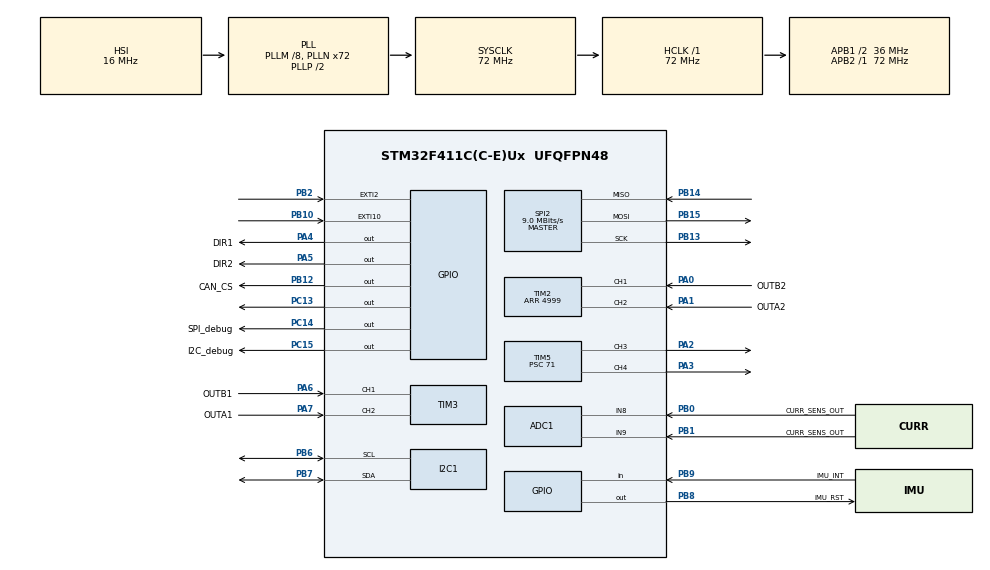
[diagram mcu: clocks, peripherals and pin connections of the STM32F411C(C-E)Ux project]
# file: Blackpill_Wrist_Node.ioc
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ADC1.Channel-0\#ChannelRegularConversion=ADC_CHANNEL_8
ADC1.Channel-1\#ChannelRegularConversion=ADC_CHANNEL_9
ADC1.ContinuousConvMode=ENABLE
ADC1.DMAContinuousRequests=ENABLE
ADC1.DiscontinuousConvMode=DISABLE
ADC1.NbrOfConversion=2
ADC1.NbrOfConversionFlag=1
ADC1.Rank-0\#ChannelRegularConversion=1
ADC1.Rank-1\#ChannelRegularConversion=2
ADC1.SamplingTime-0\#ChannelRegularConversion=ADC_SAMPLETIME_3CYCLES
ADC1.SamplingTime-1\#ChannelRegularConversion=ADC_SAMPLETIME_3CYCLES
ADC1.ScanConvMode=ENABLE
ADC1.master=1
Dma.ADC1.2.Direction=DMA_PERIPH_TO_MEMORY
Dma.ADC1.2.FIFOMode=DMA_FIFOMODE_DISABLE
Dma.ADC1.2.Instance=DMA2_Stream0
Dma.ADC1.2.MemDataAlignment=DMA_MDATAALIGN_HALFWORD
Dma.ADC1.2.MemInc=DMA_MINC_ENABLE
Dma.ADC1.2.Mode=DMA_CIRCULAR
Dma.ADC1.2.PeriphDataAlignment=DMA_PDATAALIGN_HALFWORD
Dma.ADC1.2.PeriphInc=DMA_PINC_DISABLE
Dma.ADC1.2.Priority=DMA_PRIORITY_LOW
Dma.I2C1_RX.0.Direction=DMA_PERIPH_TO_MEMORY
Dma.I2C1_RX.0.FIFOMode=DMA_FIFOMODE_DISABLE
Dma.I2C1_RX.0.Instance=DMA1_Stream0
Dma.I2C1_RX.0.MemDataAlignment=DMA_MDATAALIGN_BYTE
Dma.I2C1_RX.0.MemInc=DMA_MINC_ENABLE
Dma.I2C1_RX.0.Mode=DMA_NORMAL
Dma.I2C1_RX.0.PeriphDataAlignment=DMA_PDATAALIGN_BYTE
Dma.I2C1_RX.0.PeriphInc=DMA_PINC_DISABLE
Dma.I2C1_RX.0.Priority=DMA_PRIORITY_LOW
Dma.I2C1_TX.1.Direction=DMA_MEMORY_TO_PERIPH
Dma.I2C1_TX.1.FIFOMode=DMA_FIFOMODE_DISABLE
Dma.I2C1_TX.1.Instance=DMA1_Stream1
Dma.I2C1_TX.1.MemDataAlignment=DMA_MDATAALIGN_BYTE
Dma.I2C1_TX.1.MemInc=DMA_MINC_ENABLE
Dma.I2C1_TX.1.Mode=DMA_NORMAL
Dma.I2C1_TX.1.PeriphDataAlignment=DMA_PDATAALIGN_BYTE
Dma.I2C1_TX.1.PeriphInc=DMA_PINC_DISABLE
Dma.I2C1_TX.1.Priority=DMA_PRIORITY_LOW
Dma.Request0=I2C1_RX
Dma.Request1=I2C1_TX
Dma.Request2=ADC1
Mcu.Family=STM32F4
Mcu.Name=STM32F411C(C-E)Ux
Mcu.Package=UFQFPN48
NVIC.DMA1_Stream0_IRQn=true\:0\:0\:false\:false\:true\:false\:true\:true
NVIC.DMA1_Stream1_IRQn=true\:0\:0\:false\:false\:true\:false\:true\:true
NVIC.DMA2_Stream0_IRQn=true\:0\:0\:false\:false\:true\:false\:true\:true
NVIC.EXTI15_10_IRQn=true\:0\:0\:false\:false\:true\:true\:true\:true
NVIC.EXTI2_IRQn=true\:0\:0\:false\:false\:true\:true\:true\:true
NVIC.PriorityGroup=NVIC_PRIORITYGROUP_4
PA0-WKUP.GPIO_Label=OUTB2
PA0-WKUP.Signal=S_TIM2_CH1_ETR
PA1.GPIO_Label=OUTA2
PA1.Signal=S_TIM2_CH2
PA2.Signal=S_TIM5_CH3
PA3.Signal=S_TIM5_CH4
PA4.GPIO_Label=DIR1
PA4.Signal=GPIO_Output
PA5.GPIO_Label=DIR2
PA5.Signal=GPIO_Output
PA6.GPIO_Label=OUTB1
PA6.Signal=S_TIM3_CH1
PA7.GPIO_Label=OUTA1
PA7.Signal=S_TIM3_CH2
PB0.GPIO_Label=CURR_SENS_OUT
PB0.Signal=ADCx_IN8
PB1.GPIO_Label=CURR_SENS_OUT
PB1.Signal=ADCx_IN9
PB10.GPIO_ModeDefaultEXTI=GPIO_MODE_IT_RISING_FALLING
PB10.Signal=GPXTI10
PB12.GPIO_Label=CAN_CS
PB12.Signal=GPIO_Output
PB13.Mode=Full_Duplex_Master
PB13.Signal=SPI2_SCK
PB14.Mode=Full_Duplex_Master
PB14.Signal=SPI2_MISO
PB15.Mode=Full_Duplex_Master
PB15.Signal=SPI2_MOSI
PB2.GPIO_ModeDefaultEXTI=GPIO_MODE_IT_RISING_FALLING
PB2.Signal=GPXTI2
PB6.Mode=I2C
PB6.Signal=I2C1_SCL
PB7.Mode=I2C
PB7.Signal=I2C1_SDA
PB8.GPIO_Label=IMU_RST
PB8.Signal=GPIO_Output
PB9.GPIO_Label=IMU_INT
PB9.Signal=GPIO_Input
PC13-ANTI_TAMP.Signal=GPIO_Output
PC14-OSC32_IN.GPIO_Label=SPI_debug
PC14-OSC32_IN.Signal=GPIO_Output
PC15-OSC32_OUT.GPIO_Label=I2C_debug
PC15-OSC32_OUT.Signal=GPIO_Output
PH0\ -\ OSC_IN.Mode=HSE-External-Oscillator
PH0\ -\ OSC_IN.Signal=RCC_OSC_IN
PH1\ -\ OSC_OUT.Mode=HSE-External-Oscillator
PH1\ -\ OSC_OUT.Signal=RCC_OSC_OUT
ProjectManager.HeapSize=0x200
ProjectManager.StackSize=0x400
ProjectManager.TargetToolchain=STM32CubeIDE
RCC.48MHZClocksFreq_Value=36000000
RCC.AHBFreq_Value=72000000
RCC.APB1CLKDivider=RCC_HCLK_DIV2
RCC.APB1Freq_Value=36000000
RCC.APB1TimFreq_Value=72000000
RCC.APB2Freq_Value=72000000
RCC.APB2TimFreq_Value=72000000
RCC.CortexFreq_Value=72000000
RCC.HCLKFreq_Value=72000000
RCC.HSE_VALUE=25000000
RCC.HSI_VALUE=16000000
RCC.LSE_VALUE=32768
RCC.PLLM=8
RCC.PLLN=72
RCC.SYSCLKFreq_VALUE=72000000
RCC.SYSCLKSource=RCC_SYSCLKSOURCE_PLLCLK
RCC.VCOOutputFreq_Value=144000000
SH.ADCx_IN8.0=ADC1_IN8,IN8
SH.ADCx_IN9.0=ADC1_IN9,IN9
SH.S_TIM2_CH1_ETR.0=TIM2_CH1,Encoder_Interface
SH.S_TIM2_CH2.0=TIM2_CH2,Encoder_Interface
SH.S_TIM3_CH1.0=TIM3_CH1,Encoder_Interface
SH.S_TIM3_CH2.0=TIM3_CH2,Encoder_Interface
SH.S_TIM5_CH3.0=TIM5_CH3,PWM Generation3 CH3
SH.S_TIM5_CH4.0=TIM5_CH4,PWM Generation4 CH4
SPI2.BaudRatePrescaler=SPI_BAUDRATEPRESCALER_4
SPI2.CalculateBaudRate=9.0 MBits/s
SPI2.Direction=SPI_DIRECTION_2LINES
SPI2.Mode=SPI_MODE_MASTER
SPI2.VirtualType=VM_MASTER
TIM1.Prescaler=71
TIM2.Period=4999
TIM5.Channel-PWM\ Generation3\ CH3=TIM_CHANNEL_3
TIM5.Channel-PWM\ Generation4\ CH4=TIM_CHANNEL_4
TIM5.Period=999
TIM5.Prescaler=71
VP_TIM1_VS_ClockSourceINT.Mode=Internal
VP_TIM5_VS_ClockSourceINT.Mode=Internal
board=custom

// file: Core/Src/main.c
/* USER CODE BEGIN Header */
/**
  ******************************************************************************
  * @file           : main.c
  * @brief          : Main program body
  ******************************************************************************
  * @attention
  *
  * Copyright (c) 2026 STMicroelectronics.
  * All rights reserved.
  *
  * This software is licensed under terms that can be found in the LICENSE file
  * in the root directory of this software component.
  * If no LICENSE file comes with this software, it is provided AS-IS.
  *
  ******************************************************************************
  */
/* USER CODE END Header */
#include "main.h"

/* USER CODE BEGIN Includes */
#include "CANSPI.h"
#include "MCP2515.h"
/* USER CODE END Includes */

/* USER CODE BEGIN PTD */
#define wrist 9
#define CAN_FAIL 10000

#define QUAD_DATA 0b00010  //SEND QUAD DATAS
#define SENSORS_CHECK 0b11111 //SENSOR CHECK AT BEGINNING

#define HEARTBEAT 0b00000  //HEARTBEAT RECEIVED
#define HEARTBEATED 0b00001 //HEARTBEAT SENT

#define PWM 0b10010 //PWM TO BE RECEIVED
#define START_NODE 0b10100 //NODE START COMMAND

#define PWM_INTERRUPT 0b01010

#define MAKE_ARBITRATION_ID(node, msg) (((node) << 5) | (msg))

#define CAN_FAIL 10000

#define CPR (1000*4)
#define dt 0.0001

#define BUSOFF_CHECK_PERIOD_MS 200

/* USER CODE END PTD */

ADC_HandleTypeDef hadc1;
DMA_HandleTypeDef hdma_adc1;

I2C_HandleTypeDef hi2c1;
DMA_HandleTypeDef hdma_i2c1_rx;
DMA_HandleTypeDef hdma_i2c1_tx;

SPI_HandleTypeDef hspi2;

TIM_HandleTypeDef htim1;
TIM_HandleTypeDef htim2;
TIM_HandleTypeDef htim3;
TIM_HandleTypeDef htim5;

/* USER CODE BEGIN PV */
volatile uint16_t adc_buf[2];

uint16_t enc1_count;
uint16_t enc2_count;

uCAN_MSG tx_quad_curr;
uCAN_MSG tx_sensor_check;

uCAN_MSG tx_heartbeat;
uCAN_MSG tx_pwminterrupt;

uCAN_MSG rx;

uint8_t timer = 0;
static volatile uint32_t counter = 0;
static volatile uint8_t heartbeater = 0;
static volatile uint32_t CAN_failed_counter = 0;
static uint32_t last_bussoff_check_tick = 0;
static volatile uint32_t tx_drop_count = 0;
volatile bool beat_pls = false;
volatile bool start_node = false;
volatile bool start_node_init = false;
volatile bool CAN_checker = false;

//void decode_id(uint16_t arb_id){
//	uint16_t node = (arb_id >> 5) & 0b00111111;
//	uint16_t msg = arb_id & 0b00011111;
//	nm[0] = node;
//	nm[1] = msg;
//}
//
//uint16_t cast_to_arbid(uint16_t id){
// return (id & 0b11111111111);
//}

uint16_t pwm_msg_left = MAKE_ARBITRATION_ID(wrist, PWM);
uint16_t start_node_msg = MAKE_ARBITRATION_ID(wrist, START_NODE);
//
//uint16_t exp_dirn_msg = MAKE_ARBITRATION_ID(wrist, EXPLICIT_DIRN);
//uint16_t dr_dirn_msg = MAKE_ARBITRATION_ID(wrist, DRIVE_DIRN);
//
//uint16_t exp_acs_msg = MAKE_ARBITRATION_ID(wrist, EXPLICIT_ACS);
//uint16_t dr_acs_msg = MAKE_ARBITRATION_ID(wrist, DRIVE_ACS);
//
//uint16_t exp_quad_msg = MAKE_ARBITRATION_ID(wrist, EXPLICIT_QUAD);
//uint16_t dr_quad_msg = MAKE_ARBITRATION_ID(wrist, DRIVE_QUAD);
//
//uint16_t imu_msg = MAKE_ARBITRATION_ID(wrist, EXPLICIT_IMU);
//uint16_t mag_msg = MAKE_ARBITRATION_ID(wrist, EXPLICIT_MAGN);
//
//uint16_t status_msg = MAKE_ARBITRATION_ID(wrist, STATUS);

uint16_t quad_msg = MAKE_ARBITRATION_ID(wrist, QUAD_DATA);
uint16_t sensor_check_msg = MAKE_ARBITRATION_ID(wrist, SENSORS_CHECK);

uint16_t heartbeat_msg = MAKE_ARBITRATION_ID(wrist, HEARTBEAT);
uint16_t heartbeated_msg = MAKE_ARBITRATION_ID(wrist, HEARTBEATED);

uint16_t pwminterrupted_msg = MAKE_ARBITRATION_ID(wrist, PWM_INTERRUPT);

volatile uint8_t interrupted_left = 0; //assume left has dir 0 so it goes past when pwm 0 (dir(c). Thus, dir 0 and interrupted_left must be logically 0. If if the dir is 1 then make it 1
volatile uint8_t interrupted_right = 0;// assume right has dir 1 so for dir 1 and interrupted 1 pwm 0. If dir becomes 0 then let pwm to work.
// when either of these happen cause interrupt, basically and both stuff for output (dir + intlc)*(dirc + intrc)

static volatile uint32_t last_left_edge_tick = 0;
static volatile uint32_t last_right_edge_tick = 0;
static volatile bool left_edge_pending = false;
static volatile bool right_edge_pending = false;

uint16_t angle[2] = {0,0};
uint16_t angle_last[2] = {0,0};
int16_t rpm_act[2] = {0,0};            // signed RPM, updated every RPM_PERIOD_MS
static uint16_t enc_last[2] = {0,0};
static uint32_t last_rpm_tick = 0;
#define RPM_PERIOD_MS 50

/* USER CODE END PV */

void SystemClock_Config(void);
static void MX_GPIO_Init(void);
static void MX_DMA_Init(void);
static void MX_ADC1_Init(void);
static void MX_I2C1_Init(void);
static void MX_SPI2_Init(void);
static void MX_TIM2_Init(void);
static void MX_TIM3_Init(void);
static void MX_TIM5_Init(void);
static void MX_TIM1_Init(void);
/* USER CODE BEGIN PFP */

void CAN_Send_QuadFrame(){
	enc1_count = (uint16_t)__HAL_TIM_GET_COUNTER(&htim3);
	enc2_count = (uint16_t)__HAL_TIM_GET_COUNTER(&htim2);

	tx_quad_curr.frame.idType = dSTANDARD_CAN_MSG_ID_2_0B;
	tx_quad_curr.frame.id = quad_msg;
	tx_quad_curr.frame.dlc = 6;

	tx_quad_curr.frame.data0 = angle[0] & 0xFF;
	tx_quad_curr.frame.data1 = (angle[0] >> 8) & 0xFF; //explicit encoder

	tx_quad_curr.frame.data2 = angle[1] & 0xFF;
	tx_quad_curr.frame.data3 = (angle[1] >> 8) & 0xFF; //drive encoder

	tx_quad_curr.frame.data4 = adc_buf[0] & 0xFF;
	tx_quad_curr.frame.data5 = (adc_buf[0] >> 8) & 0xFF;

	if (!CANSPI_Transmit(&tx_quad_curr)) tx_drop_count++;
}

void CAN_Heartbeat(void){
    if (beat_pls){
		tx_heartbeat.frame.idType = dSTANDARD_CAN_MSG_ID_2_0B;
		tx_heartbeat.frame.id = heartbeated_msg;
		tx_heartbeat.frame.dlc = 1;
		tx_heartbeat.frame.data0 = heartbeater;
		beat_pls = false;
		if (!CANSPI_Transmit(&tx_heartbeat)) tx_drop_count++;
    }
}

void delay_us (uint16_t us){
	__HAL_TIM_SET_COUNTER(&htim1,0);  // set the counter value a 0
	while (__HAL_TIM_GET_COUNTER(&htim1) < us);  // wait for the counter to reach the us input in the parameter
}

//void CAN_Send_SensorCheck(void){
//	tx_sensor_check.frame.idType = dSTANDARD_CAN_MSG_ID_2_0B;
//	tx_sensor_check.frame.id = sensor_check_msg;
//	tx_sensor_check.frame.dlc = 2;
//	tx_sensor_check.frame.data0 = status_as;
//	tx_sensor_check.frame.data1 = status_bn;
//	if (!CANSPI_Transmit(&tx_sensor_check)) tx_drop_count++;
//}
/* USER CODE END PFP */

int main(void)
{

  /* MCU Configuration--------------------------------------------------------*/

  /* Reset of all peripherals, Initializes the Flash interface and the Systick. */
  HAL_Init();

  /* Configure the system clock */
  SystemClock_Config();

  /* Initialize all configured peripherals */
  MX_GPIO_Init();
  MX_DMA_Init();
  MX_ADC1_Init();
  MX_I2C1_Init();
  MX_SPI2_Init();
  MX_TIM2_Init();
  MX_TIM3_Init();
  MX_TIM5_Init();
  MX_TIM1_Init();
  /* USER CODE BEGIN 2 */
//  HAL_GPIO_WritePin(GPIOC,GPIO_PIN_13,0);
//  HAL_Delay(100);
//  HAL_GPIO_WritePin(GPIOC,GPIO_PIN_13,1);
//  HAL_Delay(100);

  HAL_Delay(1000);
  CAN_checker = CANSPI_Initialize();
  HAL_Delay(1000);

//  HAL_GPIO_WritePin(GPIOC,GPIO_PIN_13,0);
//  HAL_Delay(100);
//  HAL_GPIO_WritePin(GPIOC,GPIO_PIN_13,1);
//  HAL_Delay(100);

  HAL_ADC_Start_DMA(&hadc1, (uint32_t*)adc_buf, 2);
  __HAL_DMA_DISABLE_IT(hadc1.DMA_Handle, DMA_IT_TC | DMA_IT_HT | DMA_IT_TE);

  HAL_Delay(20);

//  HAL_GPIO_WritePin(GPIOC,GPIO_PIN_13,0);
//  HAL_Delay(100);
//  HAL_GPIO_WritePin(GPIOC,GPIO_PIN_13,1);
//  HAL_Delay(100);

  HAL_TIM_Base_Start(&htim1); // 1 MHz free-running counter used by delay_us()

  HAL_TIM_PWM_Start(&htim5, TIM_CHANNEL_3);
  HAL_TIM_PWM_Start(&htim5, TIM_CHANNEL_4);

  HAL_TIM_Encoder_Start(&htim2, TIM_CHANNEL_ALL);
  HAL_TIM_Encoder_Start(&htim3, TIM_CHANNEL_ALL);

//  HAL_GPIO_WritePin(GPIOA,GPIO_PIN_4,1);
//  HAL_GPIO_WritePin(GPIOA,GPIO_PIN_5,1);
//
//  __HAL_TIM_SET_COMPARE(&htim5, TIM_CHANNEL_3, 150);
//  __HAL_TIM_SET_COMPARE(&htim5, TIM_CHANNEL_4, 150);
//
//  HAL_Delay(2000);
//
//  HAL_GPIO_WritePin(GPIOA,GPIO_PIN_4,0);
//  HAL_GPIO_WritePin(GPIOA,GPIO_PIN_5,0);
//  __HAL_TIM_SET_COMPARE(&htim5, TIM_CHANNEL_3, 0);
//  __HAL_TIM_SET_COMPARE(&htim5, TIM_CHANNEL_4, 0);
//
//  HAL_Delay(1000);

  last_bussoff_check_tick = HAL_GetTick();
  last_rpm_tick = last_bussoff_check_tick;
  /* USER CODE END 2 */

  /* Infinite loop */
  while (1)
  {

  /* USER CODE BEGIN 3 */

    if (CAN_failed_counter>=CAN_FAIL){
  	  __HAL_TIM_SET_COMPARE(&htim5, TIM_CHANNEL_3, 0);
  	  __HAL_TIM_SET_COMPARE(&htim5, TIM_CHANNEL_4, 0);
  	  HAL_GPIO_WritePin(GPIOA,GPIO_PIN_4,0);
  	  HAL_GPIO_WritePin(GPIOA,GPIO_PIN_5,0);
  	  start_node = false;
    }

    if (HAL_GetTick() - last_bussoff_check_tick >= BUSOFF_CHECK_PERIOD_MS){
  	  last_bussoff_check_tick = HAL_GetTick();
  	  if (CANSPI_isBussOff()){
  		  CAN_checker = CANSPI_Initialize();
  	  }
    }

    if (!start_node){
	//  	  HAL_Delay(500);
	//  	  HAL_GPIO_WritePin(GPIOC,GPIO_PIN_13,0);
	//  	  HAL_Delay(100);
	//  	  HAL_GPIO_WritePin(GPIOC,GPIO_PIN_13,1);
	//  	  HAL_Delay(100);
		  while(!CANSPI_Receive(&rx)){}
		  if (rx.frame.id == start_node_msg){
	//  		  HAL_GPIO_WritePin(GPIOC,GPIO_PIN_13,0);
	//  		  HAL_Delay(100);
	//  		  HAL_GPIO_WritePin(GPIOC,GPIO_PIN_13,1);
	//  		  HAL_Delay(100);
			  start_node = true;
			  start_node_init = true;
			  delay_us(50);
		  }
		  else if (rx.frame.id == sensor_check_msg){
//			  CAN_Send_SensorCheck();
		  }
		  else if (start_node_init){
			  start_node = true;
		  }
    }

	  if(timer==10){
		  timer = 0;
		  CAN_Send_QuadFrame(); //doing
	  }
	  if (counter==1000){
		  HAL_GPIO_TogglePin(GPIOC,GPIO_PIN_13);
		  counter = 0;
	  }

	  HAL_GPIO_WritePin(SPI_debug_GPIO_Port, SPI_debug_Pin, CAN_checker ? GPIO_PIN_SET : GPIO_PIN_RESET);

	  if (CANSPI_Receive(&rx)){
	      if (rx.frame.id == pwm_msg_left){
	          CAN_failed_counter=0;
	          uint16_t pwm_left = rx.frame.data1;
	          uint8_t dir_left = rx.frame.data0;
//	          uint8_t blocked_left = (dir_left == 0) ? interrupted_left : interrupted_right;
	          uint16_t pwm_right = rx.frame.data3;
	          uint8_t dir_right = rx.frame.data2;
//	          uint8_t blocked_right = (dir_right == 0) ? interrupted_left : interrupted_right;
	          HAL_GPIO_WritePin(GPIOA,GPIO_PIN_4,dir_left);
	          __HAL_TIM_SET_COMPARE(&htim5, TIM_CHANNEL_3, pwm_left);
	          HAL_GPIO_WritePin(GPIOA,GPIO_PIN_5,dir_right);
	          __HAL_TIM_SET_COMPARE(&htim5, TIM_CHANNEL_4, pwm_right);
	      }
	  	  else if (rx.frame.id == heartbeat_msg){
	  		  CAN_failed_counter=0;
	  		  heartbeater = rx.frame.data0 + rx.frame.data1;
	  		  beat_pls = true;
	  		  CAN_Heartbeat();
	  	  }
	  }

	  angle[0] = enc1_count*360/CPR;
	  angle[1] = enc2_count*360/CPR;
	  /* Live RPM: signed count delta over real elapsed ms (not loop iterations) */
	  uint32_t rpm_now = HAL_GetTick();
	  if (rpm_now - last_rpm_tick >= RPM_PERIOD_MS){
		  uint16_t c1 = (uint16_t)__HAL_TIM_GET_COUNTER(&htim3);
		  uint16_t c2 = (uint16_t)__HAL_TIM_GET_COUNTER(&htim2);
		  int32_t d1 = (int16_t)(c1 - enc_last[0]);             // TIM3: 16-bit wrap
		  int32_t d2 = (int32_t)c2 - (int32_t)enc_last[1];      // TIM2: wraps at ARR+1 = 5000
		  if (d2 > 2500) d2 -= 5000; else if (d2 < -2500) d2 += 5000;
		  int32_t dms = (int32_t)(rpm_now - last_rpm_tick);
		  rpm_act[0] = (int16_t)(d1 * 60000 / (CPR * dms));
		  rpm_act[1] = (int16_t)(d2 * 60000 / (CPR * dms));
		  enc_last[0] = c1;
		  enc_last[1] = c2;
		  last_rpm_tick = rpm_now;
	  }

	  timer++;
	  counter++;
	  CAN_failed_counter++;
	  delay_us(100);
  }
  /* USER CODE END 3 */
}

void SystemClock_Config(void)
{
  RCC_OscInitTypeDef RCC_OscInitStruct = {0};
  RCC_ClkInitTypeDef RCC_ClkInitStruct = {0};

  /** Configure the main internal regulator output voltage
  */
  __HAL_RCC_PWR_CLK_ENABLE();
  __HAL_PWR_VOLTAGESCALING_CONFIG(PWR_REGULATOR_VOLTAGE_SCALE1);

  /** Initializes the RCC Oscillators according to the specified parameters
  * in the RCC_OscInitTypeDef structure.
  */
  RCC_OscInitStruct.OscillatorType = RCC_OSCILLATORTYPE_HSI;
  RCC_OscInitStruct.HSIState = RCC_HSI_ON;
  RCC_OscInitStruct.HSICalibrationValue = RCC_HSICALIBRATION_DEFAULT;
  RCC_OscInitStruct.PLL.PLLState = RCC_PLL_ON;
  RCC_OscInitStruct.PLL.PLLSource = RCC_PLLSOURCE_HSI;
  RCC_OscInitStruct.PLL.PLLM = 8;
  RCC_OscInitStruct.PLL.PLLN = 72;
  RCC_OscInitStruct.PLL.PLLP = RCC_PLLP_DIV2;
  RCC_OscInitStruct.PLL.PLLQ = 4;
  if (HAL_RCC_OscConfig(&RCC_OscInitStruct) != HAL_OK)
  {
    Error_Handler();
  }

  /** Initializes the CPU, AHB and APB buses clocks
  */
  RCC_ClkInitStruct.ClockType = RCC_CLOCKTYPE_HCLK|RCC_CLOCKTYPE_SYSCLK
                              |RCC_CLOCKTYPE_PCLK1|RCC_CLOCKTYPE_PCLK2;
  RCC_ClkInitStruct.SYSCLKSource = RCC_SYSCLKSOURCE_PLLCLK;
  RCC_ClkInitStruct.AHBCLKDivider = RCC_SYSCLK_DIV1;
  RCC_ClkInitStruct.APB1CLKDivider = RCC_HCLK_DIV2;
  RCC_ClkInitStruct.APB2CLKDivider = RCC_HCLK_DIV1;

  if (HAL_RCC_ClockConfig(&RCC_ClkInitStruct, FLASH_LATENCY_2) != HAL_OK)
  {
    Error_Handler();
  }
}

static void MX_ADC1_Init(void)
{

  ADC_ChannelConfTypeDef sConfig = {0};

  /** Configure the global features of the ADC (Clock, Resolution, Data Alignment and number of conversion)
  */
  hadc1.Instance = ADC1;
  hadc1.Init.ClockPrescaler = ADC_CLOCK_SYNC_PCLK_DIV2;
  hadc1.Init.Resolution = ADC_RESOLUTION_12B;
  hadc1.Init.ScanConvMode = ENABLE;
  hadc1.Init.ContinuousConvMode = ENABLE;
  hadc1.Init.DiscontinuousConvMode = DISABLE;
  hadc1.Init.ExternalTrigConvEdge = ADC_EXTERNALTRIGCONVEDGE_NONE;
  hadc1.Init.ExternalTrigConv = ADC_SOFTWARE_START;
  hadc1.Init.DataAlign = ADC_DATAALIGN_RIGHT;
  hadc1.Init.NbrOfConversion = 2;
  hadc1.Init.DMAContinuousRequests = ENABLE;
  hadc1.Init.EOCSelection = ADC_EOC_SINGLE_CONV;
  if (HAL_ADC_Init(&hadc1) != HAL_OK)
  {
    Error_Handler();
  }

  /** Configure for the selected ADC regular channel its corresponding rank in the sequencer and its sample time.
  */
  sConfig.Channel = ADC_CHANNEL_8;
  sConfig.Rank = 1;
  sConfig.SamplingTime = ADC_SAMPLETIME_3CYCLES;
  if (HAL_ADC_ConfigChannel(&hadc1, &sConfig) != HAL_OK)
  {
    Error_Handler();
  }

  /** Configure for the selected ADC regular channel its corresponding rank in the sequencer and its sample time.
  */
  sConfig.Channel = ADC_CHANNEL_9;
  sConfig.Rank = 2;
  if (HAL_ADC_ConfigChannel(&hadc1, &sConfig) != HAL_OK)
  {
    Error_Handler();
  }

}

static void MX_I2C1_Init(void)
{

  hi2c1.Instance = I2C1;
  hi2c1.Init.ClockSpeed = 100000;
  hi2c1.Init.DutyCycle = I2C_DUTYCYCLE_2;
  hi2c1.Init.OwnAddress1 = 0;
  hi2c1.Init.AddressingMode = I2C_ADDRESSINGMODE_7BIT;
  hi2c1.Init.DualAddressMode = I2C_DUALADDRESS_DISABLE;
  hi2c1.Init.OwnAddress2 = 0;
  hi2c1.Init.GeneralCallMode = I2C_GENERALCALL_DISABLE;
  hi2c1.Init.NoStretchMode = I2C_NOSTRETCH_DISABLE;
  if (HAL_I2C_Init(&hi2c1) != HAL_OK)
  {
    Error_Handler();
  }

}

static void MX_SPI2_Init(void)
{

  /* SPI2 parameter configuration*/
  hspi2.Instance = SPI2;
  hspi2.Init.Mode = SPI_MODE_MASTER;
  hspi2.Init.Direction = SPI_DIRECTION_2LINES;
  hspi2.Init.DataSize = SPI_DATASIZE_8BIT;
  hspi2.Init.CLKPolarity = SPI_POLARITY_LOW;
  hspi2.Init.CLKPhase = SPI_PHASE_1EDGE;
  hspi2.Init.NSS = SPI_NSS_SOFT;
  hspi2.Init.BaudRatePrescaler = SPI_BAUDRATEPRESCALER_4;
  hspi2.Init.FirstBit = SPI_FIRSTBIT_MSB;
  hspi2.Init.TIMode = SPI_TIMODE_DISABLE;
  hspi2.Init.CRCCalculation = SPI_CRCCALCULATION_DISABLE;
  hspi2.Init.CRCPolynomial = 10;
  if (HAL_SPI_Init(&hspi2) != HAL_OK)
  {
    Error_Handler();
  }

}

static void MX_TIM1_Init(void)
{

  TIM_ClockConfigTypeDef sClockSourceConfig = {0};
  TIM_MasterConfigTypeDef sMasterConfig = {0};

  htim1.Instance = TIM1;
  htim1.Init.Prescaler = 71;
  htim1.Init.CounterMode = TIM_COUNTERMODE_UP;
  htim1.Init.Period = 65535;
  htim1.Init.ClockDivision = TIM_CLOCKDIVISION_DIV1;
  htim1.Init.RepetitionCounter = 0;
  htim1.Init.AutoReloadPreload = TIM_AUTORELOAD_PRELOAD_DISABLE;
  if (HAL_TIM_Base_Init(&htim1) != HAL_OK)
  {
    Error_Handler();
  }
  sClockSourceConfig.ClockSource = TIM_CLOCKSOURCE_INTERNAL;
  if (HAL_TIM_ConfigClockSource(&htim1, &sClockSourceConfig) != HAL_OK)
  {
    Error_Handler();
  }
  sMasterConfig.MasterOutputTrigger = TIM_TRGO_RESET;
  sMasterConfig.MasterSlaveMode = TIM_MASTERSLAVEMODE_DISABLE;
  if (HAL_TIMEx_MasterConfigSynchronization(&htim1, &sMasterConfig) != HAL_OK)
  {
    Error_Handler();
  }

}

static void MX_TIM2_Init(void)
{

  TIM_Encoder_InitTypeDef sConfig = {0};
  TIM_MasterConfigTypeDef sMasterConfig = {0};

  htim2.Instance = TIM2;
  htim2.Init.Prescaler = 0;
  htim2.Init.CounterMode = TIM_COUNTERMODE_UP;
  htim2.Init.Period = 4999;
  htim2.Init.ClockDivision = TIM_CLOCKDIVISION_DIV1;
  htim2.Init.AutoReloadPreload = TIM_AUTORELOAD_PRELOAD_DISABLE;
  sConfig.EncoderMode = TIM_ENCODERMODE_TI1;
  sConfig.IC1Polarity = TIM_ICPOLARITY_RISING;
  sConfig.IC1Selection = TIM_ICSELECTION_DIRECTTI;
  sConfig.IC1Prescaler = TIM_ICPSC_DIV1;
  sConfig.IC1Filter = 0;
  sConfig.IC2Polarity = TIM_ICPOLARITY_RISING;
  sConfig.IC2Selection = TIM_ICSELECTION_DIRECTTI;
  sConfig.IC2Prescaler = TIM_ICPSC_DIV1;
  sConfig.IC2Filter = 0;
  if (HAL_TIM_Encoder_Init(&htim2, &sConfig) != HAL_OK)
  {
    Error_Handler();
  }
  sMasterConfig.MasterOutputTrigger = TIM_TRGO_RESET;
  sMasterConfig.MasterSlaveMode = TIM_MASTERSLAVEMODE_DISABLE;
  if (HAL_TIMEx_MasterConfigSynchronization(&htim2, &sMasterConfig) != HAL_OK)
  {
    Error_Handler();
  }

}

static void MX_TIM3_Init(void)
{

  TIM_Encoder_InitTypeDef sConfig = {0};
  TIM_MasterConfigTypeDef sMasterConfig = {0};

  htim3.Instance = TIM3;
  htim3.Init.Prescaler = 0;
  htim3.Init.CounterMode = TIM_COUNTERMODE_UP;
  htim3.Init.Period = 65535;
  htim3.Init.ClockDivision = TIM_CLOCKDIVISION_DIV1;
  htim3.Init.AutoReloadPreload = TIM_AUTORELOAD_PRELOAD_DISABLE;
  sConfig.EncoderMode = TIM_ENCODERMODE_TI1;
  sConfig.IC1Polarity = TIM_ICPOLARITY_RISING;
  sConfig.IC1Selection = TIM_ICSELECTION_DIRECTTI;
  sConfig.IC1Prescaler = TIM_ICPSC_DIV1;
  sConfig.IC1Filter = 0;
  sConfig.IC2Polarity = TIM_ICPOLARITY_RISING;
  sConfig.IC2Selection = TIM_ICSELECTION_DIRECTTI;
  sConfig.IC2Prescaler = TIM_ICPSC_DIV1;
  sConfig.IC2Filter = 0;
  if (HAL_TIM_Encoder_Init(&htim3, &sConfig) != HAL_OK)
  {
    Error_Handler();
  }
  sMasterConfig.MasterOutputTrigger = TIM_TRGO_RESET;
  sMasterConfig.MasterSlaveMode = TIM_MASTERSLAVEMODE_DISABLE;
  if (HAL_TIMEx_MasterConfigSynchronization(&htim3, &sMasterConfig) != HAL_OK)
  {
    Error_Handler();
  }

}

static void MX_TIM5_Init(void)
{

  TIM_ClockConfigTypeDef sClockSourceConfig = {0};
  TIM_MasterConfigTypeDef sMasterConfig = {0};
  TIM_OC_InitTypeDef sConfigOC = {0};

  htim5.Instance = TIM5;
  htim5.Init.Prescaler = 71;
  htim5.Init.CounterMode = TIM_COUNTERMODE_UP;
  htim5.Init.Period = 255;
  htim5.Init.ClockDivision = TIM_CLOCKDIVISION_DIV1;
  htim5.Init.AutoReloadPreload = TIM_AUTORELOAD_PRELOAD_DISABLE;
  if (HAL_TIM_Base_Init(&htim5) != HAL_OK)
  {
    Error_Handler();
  }
  sClockSourceConfig.ClockSource = TIM_CLOCKSOURCE_INTERNAL;
  if (HAL_TIM_ConfigClockSource(&htim5, &sClockSourceConfig) != HAL_OK)
  {
    Error_Handler();
  }
  if (HAL_TIM_PWM_Init(&htim5) != HAL_OK)
  {
    Error_Handler();
  }
  sMasterConfig.MasterOutputTrigger = TIM_TRGO_RESET;
  sMasterConfig.MasterSlaveMode = TIM_MASTERSLAVEMODE_DISABLE;
  if (HAL_TIMEx_MasterConfigSynchronization(&htim5, &sMasterConfig) != HAL_OK)
  {
    Error_Handler();
  }
  sConfigOC.OCMode = TIM_OCMODE_PWM1;
  sConfigOC.Pulse = 0;
  sConfigOC.OCPolarity = TIM_OCPOLARITY_HIGH;
  sConfigOC.OCFastMode = TIM_OCFAST_DISABLE;
  if (HAL_TIM_PWM_ConfigChannel(&htim5, &sConfigOC, TIM_CHANNEL_3) != HAL_OK)
  {
    Error_Handler();
  }
  if (HAL_TIM_PWM_ConfigChannel(&htim5, &sConfigOC, TIM_CHANNEL_4) != HAL_OK)
  {
    Error_Handler();
  }
  HAL_TIM_MspPostInit(&htim5);

}

static void MX_DMA_Init(void)
{

  /* DMA controller clock enable */
  __HAL_RCC_DMA1_CLK_ENABLE();
  __HAL_RCC_DMA2_CLK_ENABLE();

  /* DMA interrupt init */
  /* DMA1_Stream0_IRQn interrupt configuration */
  HAL_NVIC_SetPriority(DMA1_Stream0_IRQn, 0, 0);
  HAL_NVIC_EnableIRQ(DMA1_Stream0_IRQn);
  /* DMA1_Stream1_IRQn interrupt configuration */
  HAL_NVIC_SetPriority(DMA1_Stream1_IRQn, 0, 0);
  HAL_NVIC_EnableIRQ(DMA1_Stream1_IRQn);
  /* DMA2_Stream0_IRQn interrupt configuration */
  HAL_NVIC_SetPriority(DMA2_Stream0_IRQn, 0, 0);
  HAL_NVIC_EnableIRQ(DMA2_Stream0_IRQn);

}

static void MX_GPIO_Init(void)
{
  GPIO_InitTypeDef GPIO_InitStruct = {0};

  /* GPIO Ports Clock Enable */
  __HAL_RCC_GPIOC_CLK_ENABLE();
  __HAL_RCC_GPIOH_CLK_ENABLE();
  __HAL_RCC_GPIOA_CLK_ENABLE();
  __HAL_RCC_GPIOB_CLK_ENABLE();

  /*Configure GPIO pin Output Level */
  HAL_GPIO_WritePin(GPIOC, GPIO_PIN_13|SPI_debug_Pin|I2C_debug_Pin, GPIO_PIN_RESET);

  /*Configure GPIO pin Output Level */
  HAL_GPIO_WritePin(GPIOA, DIR1_Pin|DIR2_Pin, GPIO_PIN_RESET);

  /*Configure GPIO pin Output Level */
  HAL_GPIO_WritePin(GPIOB, CAN_CS_Pin|IMU_RST_Pin, GPIO_PIN_RESET);

  /*Configure GPIO pins : PC13 SPI_debug_Pin I2C_debug_Pin */
  GPIO_InitStruct.Pin = GPIO_PIN_13|SPI_debug_Pin|I2C_debug_Pin;
  GPIO_InitStruct.Mode = GPIO_MODE_OUTPUT_PP;
  GPIO_InitStruct.Pull = GPIO_NOPULL;
  GPIO_InitStruct.Speed = GPIO_SPEED_FREQ_LOW;
  HAL_GPIO_Init(GPIOC, &GPIO_InitStruct);

  /*Configure GPIO pins : DIR1_Pin DIR2_Pin */
  GPIO_InitStruct.Pin = DIR1_Pin|DIR2_Pin;
  GPIO_InitStruct.Mode = GPIO_MODE_OUTPUT_PP;
  GPIO_InitStruct.Pull = GPIO_NOPULL;
  GPIO_InitStruct.Speed = GPIO_SPEED_FREQ_LOW;
  HAL_GPIO_Init(GPIOA, &GPIO_InitStruct);

  /*Configure GPIO pins : PB2 PB10 */
  GPIO_InitStruct.Pin = GPIO_PIN_2|GPIO_PIN_10;
  GPIO_InitStruct.Mode = GPIO_MODE_IT_RISING_FALLING;
  GPIO_InitStruct.Pull = GPIO_NOPULL;
  HAL_GPIO_Init(GPIOB, &GPIO_InitStruct);

  /*Configure GPIO pins : CAN_CS_Pin IMU_RST_Pin */
  GPIO_InitStruct.Pin = CAN_CS_Pin|IMU_RST_Pin;
  GPIO_InitStruct.Mode = GPIO_MODE_OUTPUT_PP;
  GPIO_InitStruct.Pull = GPIO_NOPULL;
  GPIO_InitStruct.Speed = GPIO_SPEED_FREQ_LOW;
  HAL_GPIO_Init(GPIOB, &GPIO_InitStruct);

  /*Configure GPIO pin : IMU_INT_Pin */
  GPIO_InitStruct.Pin = IMU_INT_Pin;
  GPIO_InitStruct.Mode = GPIO_MODE_INPUT;
  GPIO_InitStruct.Pull = GPIO_NOPULL;
  HAL_GPIO_Init(IMU_INT_GPIO_Port, &GPIO_InitStruct);

  /* EXTI interrupt init*/
  HAL_NVIC_SetPriority(EXTI2_IRQn, 0, 0);
  HAL_NVIC_EnableIRQ(EXTI2_IRQn);

  HAL_NVIC_SetPriority(EXTI15_10_IRQn, 0, 0);
  HAL_NVIC_EnableIRQ(EXTI15_10_IRQn);

}

void Error_Handler(void)
{
  /* USER CODE BEGIN Error_Handler_Debug */
  /* User can add his own implementation to report the HAL error return state */
  TIM5->CCR3 = 0;                              /* motors off */
  TIM5->CCR4 = 0;
  GPIOA->BSRR = ((uint32_t)GPIO_PIN_4 | GPIO_PIN_5) << 16U; /* DIR low */
  __disable_irq();
  while (1)
  {
  }
  /* USER CODE END Error_Handler_Debug */
}
